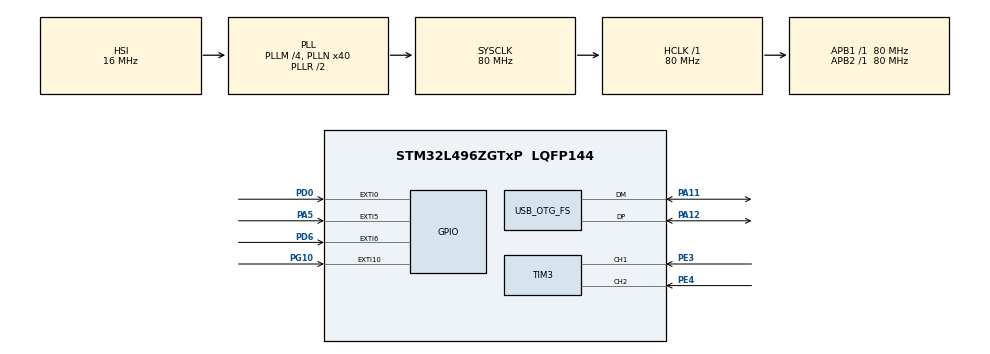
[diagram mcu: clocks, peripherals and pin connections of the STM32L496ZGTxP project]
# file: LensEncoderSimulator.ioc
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Mcu.Family=STM32L4
Mcu.Name=STM32L496ZGTxP
Mcu.Package=LQFP144
Mcu.UserConstants=ENCODER_MINOR_VERSION,1;ENCODER_MCU_VERSION,0x4;ENCODER_MAJOR_VERSION,1
NVIC.OTG_FS_IRQn=true\:0\:0\:false\:false\:true\:true\:true\:true
NVIC.PriorityGroup=NVIC_PRIORITYGROUP_4
NVIC.TIM3_IRQn=true\:0\:0\:false\:false\:true\:true\:true\:true
PA11.Mode=Device_Only
PA11.Signal=USB_OTG_FS_DM
PA12.Mode=Device_Only
PA12.Signal=USB_OTG_FS_DP
PA13\ (JTMS/SWDIO).Mode=Trace_Asynchronous_SW
PA13\ (JTMS/SWDIO).Signal=SYS_JTMS-SWDIO
PA14\ (JTCK/SWCLK).Mode=Trace_Asynchronous_SW
PA14\ (JTCK/SWCLK).Signal=SYS_JTCK-SWCLK
PA5.Signal=GPXTI5
PB3\ (JTDO/TRACESWO).Mode=Trace_Asynchronous_SW
PB3\ (JTDO/TRACESWO).Signal=SYS_JTDO-SWO
PD0.Signal=GPXTI0
PD6.Signal=GPXTI6
PE3.GPIO_PuPd=GPIO_PULLUP
PE3.Signal=S_TIM3_CH1
PE4.GPIO_PuPd=GPIO_PULLUP
PE4.Signal=S_TIM3_CH2
PG10.Signal=GPXTI10
ProjectManager.HeapSize=0x200
ProjectManager.StackSize=0x400
ProjectManager.TargetToolchain=STM32CubeIDE
RCC.ADCFreq_Value=48000000
RCC.AHBFreq_Value=80000000
RCC.APB1Freq_Value=80000000
RCC.APB1TimFreq_Value=80000000
RCC.APB2Freq_Value=80000000
RCC.APB2TimFreq_Value=80000000
RCC.CK48CLockSelection=RCC_USBCLKSOURCE_HSI48
RCC.CortexFreq_Value=80000000
RCC.HCLKFreq_Value=80000000
RCC.HSE_VALUE=8000000
RCC.HSI48_VALUE=48000000
RCC.HSI_VALUE=16000000
RCC.LSE_VALUE=32768
RCC.MSI_VALUE=4000000
RCC.PLLM=4
RCC.PLLN=40
RCC.PLLSAI1N=24
RCC.PLLSourceVirtual=RCC_PLLSOURCE_HSI
RCC.SYSCLKFreq_VALUE=80000000
RCC.SYSCLKSource=RCC_SYSCLKSOURCE_PLLCLK
RCC.USBFreq_Value=48000000
RCC.VCOOutputFreq_Value=160000000
SH.S_TIM3_CH1.0=TIM3_CH1,Encoder_Interface
SH.S_TIM3_CH2.0=TIM3_CH2,Encoder_Interface
TIM3.ClockDivision=TIM_CLOCKDIVISION_DIV4
TIM3.EncoderMode=TIM_ENCODERMODE_TI12
TIM3.IC1Filter=15
TIM3.IC2Filter=15
USB_DEVICE.CLASS_NAME_FS=CUSTOM_HID
USB_DEVICE.CONFIGURATION_STRING_CUSTOMHID_FS=ExperimentalProj CHID Config
USB_DEVICE.CUSTOM_HID_FS_BINTERVAL=0x1
USB_DEVICE.INTERFACE_STRING_CUSTOMHID_FS=ExperimentalProj CHID Interface
USB_DEVICE.MANUFACTURER_STRING=mntmnt7.com
USB_DEVICE.PID_CUSTOMHID_FS=0xCAFE
USB_DEVICE.PRODUCT_STRING_CUSTOMHID_FS=Lens Encoder Simulator
USB_DEVICE.USBD_CUSTOMHID_OUTREPORT_BUF_SIZE=4
USB_DEVICE.USBD_CUSTOM_HID_REPORT_DESC_SIZE=53
USB_DEVICE.VID=0x239A
USB_DEVICE.VirtualMode=CustomHid
USB_DEVICE.VirtualModeFS=Custom_Hid_FS
USB_OTG_FS.VirtualMode=Device_Only
VP_USB_DEVICE_VS_USB_DEVICE_CUSTOM_HID_FS.Mode=CUSTOM_HID_FS
board=custom

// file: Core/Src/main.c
/* USER CODE BEGIN Header */
/**
  ******************************************************************************
  * @file           : main.c
  * @brief          : Main program body
  ******************************************************************************
  * @attention
  *
  * <h2><center>&copy; Copyright (c) 2020 STMicroelectronics.
  * All rights reserved.</center></h2>
  *
  * This software component is licensed by ST under BSD 3-Clause license,
  * the "License"; You may not use this file except in compliance with the
  * License. You may obtain a copy of the License at:
  *                        opensource.org/licenses/BSD-3-Clause
  *
  ******************************************************************************
  */
/* USER CODE END Header */
#include "main.h"
#include "usb_device.h"

/* USER CODE BEGIN Includes */
#include <stdbool.h>
#include <assert.h>

#include "../../board-common/encoder/usbh/usb_fs_setup.h" ///MODIFIED_TAG
#include "../../board-common/encoder/encoder/impulse-encoder.h"

#ifdef DEBUG
#  include <math.h>
#endif

/* USER CODE END Includes */

/* USER CODE BEGIN PTD */
//#define BARE_NUCLEO
/* USER CODE END PTD */

TIM_HandleTypeDef htim3;

/* USER CODE BEGIN PV */

/* USER CODE BEGIN PV */
#ifdef DEBUG
// Enabling printf into console
//-- to enable "Serial Wire Viewer (SWV)" and set MCU's clock as "Core Clock"
//-- Open "SWV ITM Data Console" (Window > Show View > SWV > SWV ITM Data Console)
//-- Configure Trace by checking 0th Stimulus Port
//-- and Hit Start Trace
int __io_putchar(int ch) { //PRINTF.
	ITM_SendChar(ch);
	return ch;
}
#endif
/* USER CODE END PV */

void SystemClock_Config(void);
static void MX_GPIO_Init(void);
static void MX_TIM3_Init(void);
/* USER CODE BEGIN PFP */

//--------------------------------------------------------

///NEW_ADC END

/* USER CODE END PFP */

int main(void)
{

  /* USER CODE BEGIN 1 */
  //float Source_code,Vols; ///NEW_ADC
  /* USER CODE END 1 */

  /* MCU Configuration--------------------------------------------------------*/

  /* Reset of all peripherals, Initializes the Flash interface and the Systick. */
  HAL_Init();

  /* Configure the system clock */
  SystemClock_Config();

  /* Initialize all configured peripherals */
  MX_GPIO_Init();
  MX_USB_DEVICE_Init();
  MX_TIM3_Init();
  /* USER CODE BEGIN 2 */
  printf("Encoder Imitator starts\r\n");
  impulse_encoder_setup(& PULSE_ENCODER_EC11_TIMER);
  /* USER CODE END 2 */

  /* Infinite loop */
  /* USER CODE BEGIN WHILE */
  while (1)
  {
	  impulse_encoder_update(& PULSE_ENCODER_EC11_TIMER);
	  myhid_process_request();
    /* USER CODE END WHILE */

  }
}

void SystemClock_Config(void)
{
  RCC_OscInitTypeDef RCC_OscInitStruct = {0};
  RCC_ClkInitTypeDef RCC_ClkInitStruct = {0};

  /** Configure the main internal regulator output voltage
  */
  if (HAL_PWREx_ControlVoltageScaling(PWR_REGULATOR_VOLTAGE_SCALE1) != HAL_OK)
  {
    Error_Handler();
  }

  /** Initializes the RCC Oscillators according to the specified parameters
  * in the RCC_OscInitTypeDef structure.
  */
  RCC_OscInitStruct.OscillatorType = RCC_OSCILLATORTYPE_HSI48|RCC_OSCILLATORTYPE_HSI;
  RCC_OscInitStruct.HSIState = RCC_HSI_ON;
  RCC_OscInitStruct.HSI48State = RCC_HSI48_ON;
  RCC_OscInitStruct.HSICalibrationValue = RCC_HSICALIBRATION_DEFAULT;
  RCC_OscInitStruct.PLL.PLLState = RCC_PLL_ON;
  RCC_OscInitStruct.PLL.PLLSource = RCC_PLLSOURCE_HSI;
  RCC_OscInitStruct.PLL.PLLM = 4;
  RCC_OscInitStruct.PLL.PLLN = 40;
  RCC_OscInitStruct.PLL.PLLP = RCC_PLLP_DIV2;
  RCC_OscInitStruct.PLL.PLLQ = RCC_PLLQ_DIV2;
  RCC_OscInitStruct.PLL.PLLR = RCC_PLLR_DIV2;
  if (HAL_RCC_OscConfig(&RCC_OscInitStruct) != HAL_OK)
  {
    Error_Handler();
  }

  /** Initializes the CPU, AHB and APB buses clocks
  */
  RCC_ClkInitStruct.ClockType = RCC_CLOCKTYPE_HCLK|RCC_CLOCKTYPE_SYSCLK
                              |RCC_CLOCKTYPE_PCLK1|RCC_CLOCKTYPE_PCLK2;
  RCC_ClkInitStruct.SYSCLKSource = RCC_SYSCLKSOURCE_PLLCLK;
  RCC_ClkInitStruct.AHBCLKDivider = RCC_SYSCLK_DIV1;
  RCC_ClkInitStruct.APB1CLKDivider = RCC_HCLK_DIV1;
  RCC_ClkInitStruct.APB2CLKDivider = RCC_HCLK_DIV1;

  if (HAL_RCC_ClockConfig(&RCC_ClkInitStruct, FLASH_LATENCY_4) != HAL_OK)
  {
    Error_Handler();
  }
}

static void MX_TIM3_Init(void)
{

  TIM_Encoder_InitTypeDef sConfig = {0};
  TIM_MasterConfigTypeDef sMasterConfig = {0};

  htim3.Instance = TIM3;
  htim3.Init.Prescaler = 0;
  htim3.Init.CounterMode = TIM_COUNTERMODE_UP;
  htim3.Init.Period = 65535;
  htim3.Init.ClockDivision = TIM_CLOCKDIVISION_DIV4;
  htim3.Init.AutoReloadPreload = TIM_AUTORELOAD_PRELOAD_DISABLE;
  sConfig.EncoderMode = TIM_ENCODERMODE_TI12;
  sConfig.IC1Polarity = TIM_ICPOLARITY_RISING;
  sConfig.IC1Selection = TIM_ICSELECTION_DIRECTTI;
  sConfig.IC1Prescaler = TIM_ICPSC_DIV1;
  sConfig.IC1Filter = 15;
  sConfig.IC2Polarity = TIM_ICPOLARITY_RISING;
  sConfig.IC2Selection = TIM_ICSELECTION_DIRECTTI;
  sConfig.IC2Prescaler = TIM_ICPSC_DIV1;
  sConfig.IC2Filter = 15;
  if (HAL_TIM_Encoder_Init(&htim3, &sConfig) != HAL_OK)
  {
    Error_Handler();
  }
  sMasterConfig.MasterOutputTrigger = TIM_TRGO_RESET;
  sMasterConfig.MasterSlaveMode = TIM_MASTERSLAVEMODE_DISABLE;
  if (HAL_TIMEx_MasterConfigSynchronization(&htim3, &sMasterConfig) != HAL_OK)
  {
    Error_Handler();
  }

}

static void MX_GPIO_Init(void)
{
  GPIO_InitTypeDef GPIO_InitStruct = {0};

  /* GPIO Ports Clock Enable */
  __HAL_RCC_GPIOE_CLK_ENABLE();
  __HAL_RCC_GPIOA_CLK_ENABLE();
  __HAL_RCC_GPIOD_CLK_ENABLE();
  __HAL_RCC_GPIOG_CLK_ENABLE();
  HAL_PWREx_EnableVddIO2();
  __HAL_RCC_GPIOB_CLK_ENABLE();

  /*Configure GPIO pin : PA5 */
  GPIO_InitStruct.Pin = GPIO_PIN_5;
  GPIO_InitStruct.Mode = GPIO_MODE_IT_RISING;
  GPIO_InitStruct.Pull = GPIO_NOPULL;
  HAL_GPIO_Init(GPIOA, &GPIO_InitStruct);

  /*Configure GPIO pins : PD0 PD6 */
  GPIO_InitStruct.Pin = GPIO_PIN_0|GPIO_PIN_6;
  GPIO_InitStruct.Mode = GPIO_MODE_IT_RISING;
  GPIO_InitStruct.Pull = GPIO_NOPULL;
  HAL_GPIO_Init(GPIOD, &GPIO_InitStruct);

  /*Configure GPIO pin : PG10 */
  GPIO_InitStruct.Pin = GPIO_PIN_10;
  GPIO_InitStruct.Mode = GPIO_MODE_IT_RISING;
  GPIO_InitStruct.Pull = GPIO_NOPULL;
  HAL_GPIO_Init(GPIOG, &GPIO_InitStruct);

}

/* USER CODE BEGIN 4 */

void HAL_TIM_IC_CaptureCallback(TIM_HandleTypeDef * htim) {
	if ( htim == (&PULSE_ENCODER_EC11_TIMER) ) {
		impulse_encoder_tick(htim);
	}
}

/* USER CODE END 4 */

void Error_Handler(void)
{
  /* USER CODE BEGIN Error_Handler_Debug */
  /* User can add his own implementation to report the HAL error return state */
	int i =0;
	UNUSED(i);
	__disable_irq();
	while(1) __NOP();
  /* USER CODE END Error_Handler_Debug */
}
#ifdef USE_FULL_ASSERT
/**
  * @brief  Reports the name of the source file and the source line number
  *         where the assert_param error has occurred.
  * @param  file: pointer to the source file name
  * @param  line: assert_param error line source number
  * @retval None
  */
void assert_failed(uint8_t *file, uint32_t line)
{
  /* USER CODE BEGIN 6 */
  /* User can add his own implementation to report the file name and line number,
     tex: printf("Wrong parameters value: file %s on line %d\r\n", file, line) */
	UNUSED(file);
	UNUSED(line);
  /* USER CODE END 6 */
}
#endif /* USE_FULL_ASSERT */
